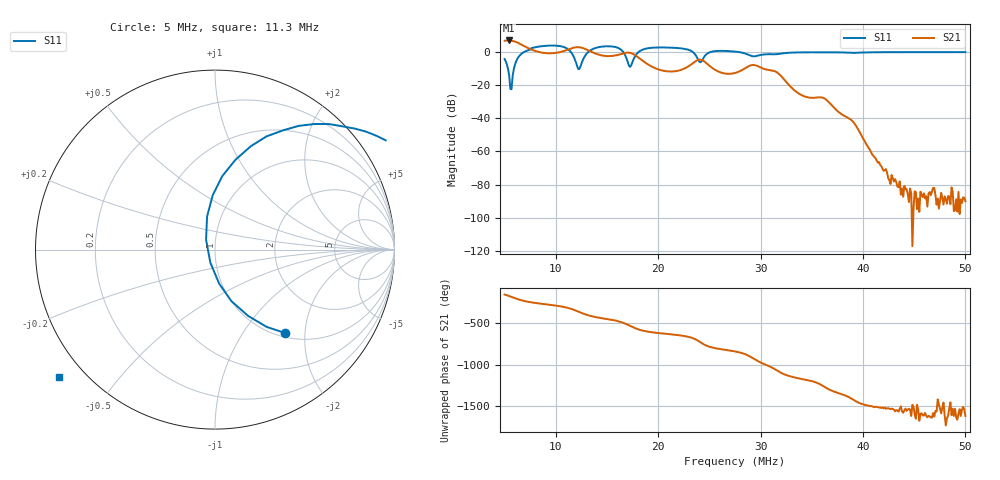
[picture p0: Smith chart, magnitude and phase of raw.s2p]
! S11/S21 only; reverse parameters are placeholders. Device calibration unverified.
! NanoVNA F V2 profile | COM3 | 2026-09-08T12:21:21.4152544-04:00 | device calibration unverified
# HZ S RI R 50
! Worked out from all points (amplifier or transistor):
!   401 points, 5 MHz to 50 MHz, reference 50 ohm
!   highest |S21| = 6.8 dB at 5.45 MHz (marker M1)
!   |S21| within 3 dB of that: start of sweep to 6.792 MHz
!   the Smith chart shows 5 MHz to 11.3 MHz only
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5000000  0.3915 -0.465  -1.977 -0.8487  0 0  0 0
5450000  0.0232 -0.1896  -2.188 -0.1757  0 0  0 0
6350000  0.2866 0.6305  -1.492 1.06  0 0  0 0
7250000  0.8997 0.6339  -0.5953 1.173  0 0  0 0
7812500  0.5481 -1.216  -0.2906 1.071  0 0  0 0
9725000  -0.1518 -1.536  0.2375 0.8773  0 0  0 0
1.14125e7  -0.8683 -0.5675  1.02 0.6878  0 0  0 0
1.25375e7  0.3891 0.2666  1.249 -0.4429  0 0  0 0
1.36625e7  1.085 -0.5782  0.432 -0.8343  0 0  0 0
1.54625e7  0.5481 -1.343  -0.1491 -0.7332  0 0  0 0
1.625e7  -0.1045 -1.223  -0.4723 -0.688  0 0  0 0
1.6925e7  -0.5269 -0.3022  -0.8516 -0.4001  0 0  0 0
1.77125e7  0.496 0.5082  -0.7534 0.2814  0 0  0 0
1.86125e7  1.199 0.0577  -0.2862 0.4105  0 0  0 0
2.0075e7  1.272 -0.46  -0.0431 0.2871  0 0  0 0
2.39e7  0.3563 -0.4543  0.5664 0.0596  0 0  0 0
2.75e7  0.8526 -0.5519  -0.1227 -0.1947  0 0  0 0
2.9975e7  0.716 -0.3531  -0.0934 0.3271  0 0  0 0
3.50375e7  0.7002 -0.6658  -0.0213 -0.0354  0 0  0 0
3.8975e7  0.5332 -0.7595  0.0076 0.00299  0 0  0 0
4.2575e7  0.4436 -0.8687  -7e-06 -0.000137  0 0  0 0
5e7  0.1586 -0.9639  -3.2e-05 -0  0 0  0 0
